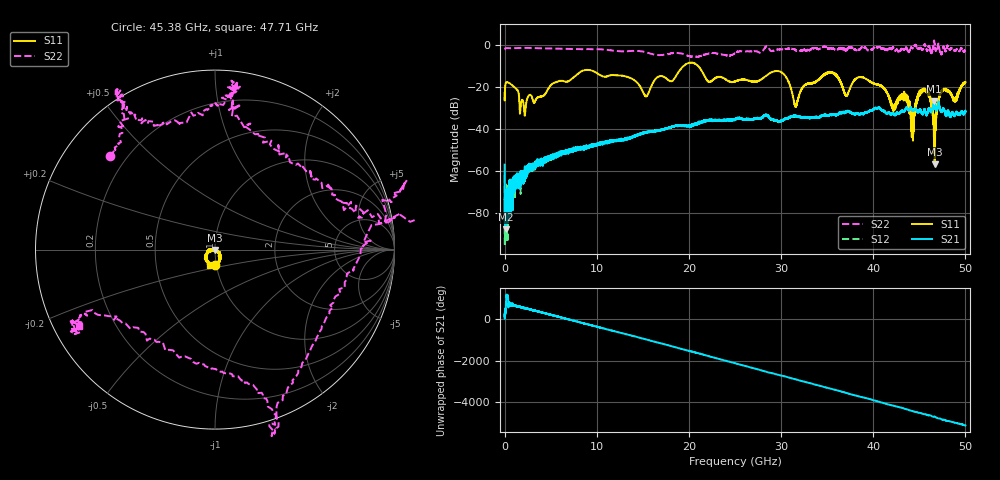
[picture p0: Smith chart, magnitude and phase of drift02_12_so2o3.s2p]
!Created with skrf (http://scikit-rf.org).
# Hz S RI R 50.0
!freq ReS11 ImS11 ReS21 ImS21 ReS12 ImS12 ReS22 ImS22
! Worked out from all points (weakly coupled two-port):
!   10001 points, 300 kHz to 50 GHz, reference 50 ohm
!   highest |S21| = -26.76 dB at 46.6 GHz (marker M1); lowest = -87.8 dB at 135.3 MHz (marker M2)
!   lowest |S11| = -56.8 dB at 46.67 GHz (marker M3), VSWR 1.00, Z = 50 - j0.139 ohm
!   |S11| at or under -10 dB: start of sweep to 19.41 GHz; 21.00369 GHz to 21.00779 GHz (4.094 MHz wide, 0.0195 % of centre); 21.01 GHz to end of sweep
!   |S22| runs from -5.7 to 2.2 dB; largest |S21 - S12| = 0.0036
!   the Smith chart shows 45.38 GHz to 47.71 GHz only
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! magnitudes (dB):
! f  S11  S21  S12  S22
! 300 kHz  -22.9  -57.0  -62.3  -2.1
! 135.3 MHz  -17.9  -87.8  -81.4  -1.5
! 2.19 GHz  -33.6  -62.3  -61.4  -1.3
! 8.335 GHz  -12.5  -49.5  -49.3  -1.9
! 15.34 GHz  -24.4  -41.7  -41.5  -3.4
! 16.67 GHz  -15.1  -40.8  -40.8  -4.8
! 20.29 GHz  -8.3  -37.9  -38.0  -5.5
! 25 GHz  -17.4  -35.2  -35.4  -3.9
! 29.85 GHz  -12.6  -36.4  -36.4  -2.1
! 31.59 GHz  -29.1  -33.8  -34.0  -2.4
! 33.34 GHz  -18.0  -34.6  -34.4  -1.5
! 35.6 GHz  -13.2  -33.1  -33.2  -1.7
! 37.1 GHz  -24.2  -31.7  -31.6  -2.3
! 38.75 GHz  -15.3  -32.7  -32.6  -1.0
! 41.67 GHz  -24.4  -32.0  -32.2  -1.9
! 43.47 GHz  -24.9  -30.9  -30.8  -1.7
! 44.25 GHz  -32.6  -31.2  -30.9  -1.5
! 45.69 GHz  -22.1  -32.1  -32.3  -0.6
! 46.6 GHz  -46.0  -26.8  -27.0  1.9
! 46.67 GHz  -56.8  -28.7  -28.4  0.3
! 47.46 GHz  -21.8  -31.6  -32.1  -3.6
! 50 GHz  -17.7  -32.0  -31.6  -2.6
